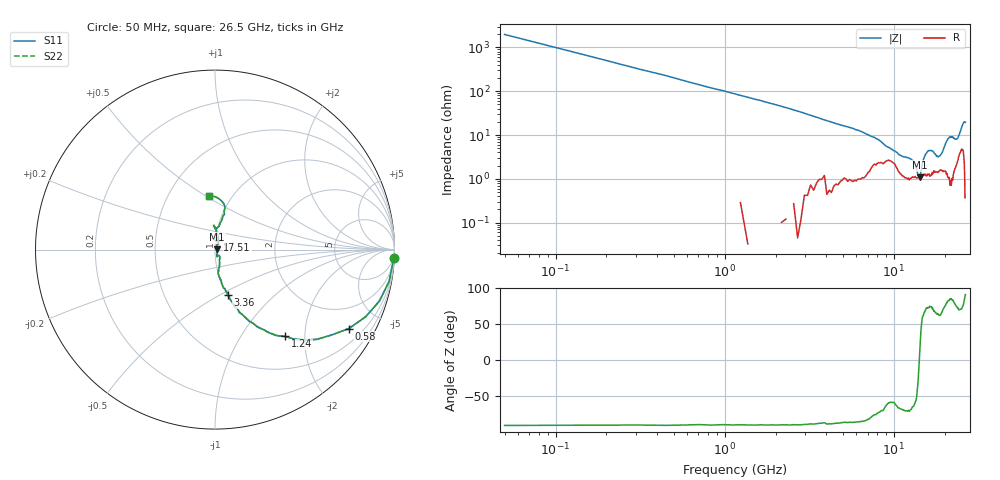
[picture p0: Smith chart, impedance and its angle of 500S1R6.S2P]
!  American Technical Ceramics  Date:  3/6/98
!  One Norden Lane
!  Huntington Station,  NY.  11746-2102
!  Tel:  (516) 547-5700  Fax:  (516) 547-5748
!  Part Number  500S1R6
!  Description: Broadband Microwave capacitor
!  Application:
# GHZ S DB R 50
! Freq  |S11|  S11 Ph  |S21|  S21 Ph  |S12|  S12 Ph  |S22|  S22 Ph
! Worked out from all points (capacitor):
!   201 points, 50 MHz to 26.5 GHz, reference 50 ohm
!   read as one part in series: C = 1.58 pF near 180 MHz
!   lowest |Z| = 1.09 ohm at 14.2 GHz (marker M1)
!   series resonance near 14.14 GHz, so ESL is about 80 pH
!   S11 on the Smith chart (normalised r, x): 50 MHz: 3, -41; 580 MHz: 0.97, -3.41; 1.24 GHz: 1.01, -1.60; 3.36 GHz: 1.00, -0.55; 17.51 GHz: 1.03, +0.11; 26.5 GHz: 0.79, +0.52
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0.05  -0.03 -2.8  -25.95 88.0  -25.95 88.0  -0.03 -2.8
0.18  -0.12 -10.3  -15.06 80.0  -15.06 80.0  -0.12 -10.3
0.58  -1.25 -30.5  -6.01 59.6  -6.01 59.6  -1.25 -30.5
1.24  -4.14 -51.1  -2.21 39.0  -2.21 39.0  -4.14 -51.1
3.36  -11.58 -74.6  -0.37 14.4  -0.37 14.4  -11.58 -74.6
4.55  -14.21 -78.5  -0.23 9.2  -0.23 9.2  -14.21 -78.5
6.79  -17.65 -82.4  -0.21 4.5  -0.21 4.5  -17.65 -82.4
8.91  -24.80 -63.2  -0.23 2.8  -0.23 2.8  -24.80 -63.2
10.76  -29.65 -68.5  -0.15 1.9  -0.15 1.9  -29.65 -68.5
12.48  -27.65 -72.9  -0.08 0.8  -0.08 0.8  -27.65 -72.9
13.28  -29.58 -68.5  -0.09 0.4  -0.09 0.4  -29.58 -68.5
14.2  -38.14 11.5  -0.08 -0.0  -0.08 -0.0  -38.14 11.5
14.86  -28.53 69.3  -0.10 -0.5  -0.10 -0.5  -28.53 69.3
15.39  -24.91 77.2  -0.12 -0.6  -0.12 -0.6  -24.91 77.2
16.32  -22.69 80.3  -0.12 -0.6  -0.12 -0.6  -22.69 80.3
17.51  -25.28 73.5  -0.13 -0.8  -0.13 -0.8  -25.28 73.5
17.77  -26.31 70.4  -0.12 -0.8  -0.12 -0.8  -26.31 70.4
18.83  -28.51 63.5  -0.14 -1.5  -0.14 -1.5  -28.51 63.5
20.81  -19.30 86.6  -0.23 -2.7  -0.23 -2.7  -19.30 86.6
22.14  -17.37 92.0  -0.36 -2.5  -0.36 -2.5  -17.37 92.0
23.86  -18.42 84.4  -0.44 -1.9  -0.44 -1.9  -18.42 84.4
26.5  -10.49 96.0  -0.87 -4.6  -0.87 -4.6  -10.49 96.0
